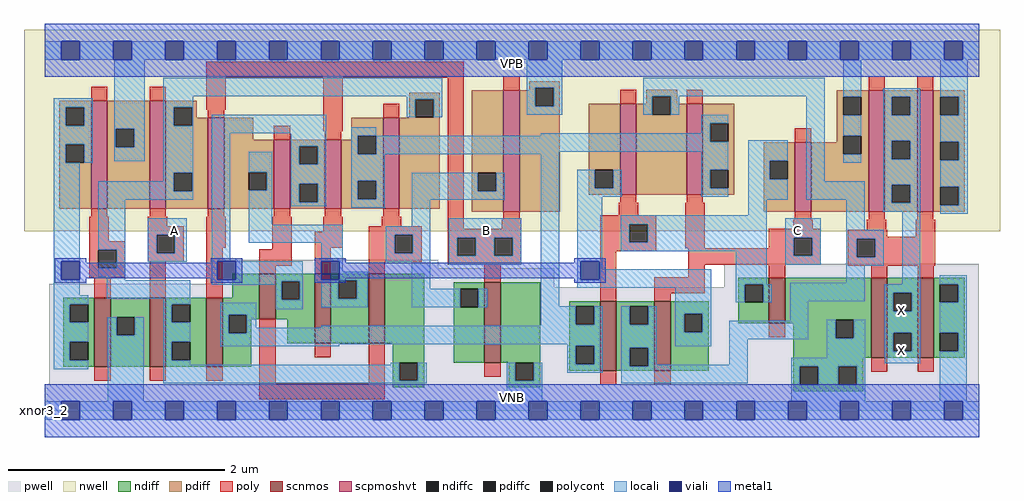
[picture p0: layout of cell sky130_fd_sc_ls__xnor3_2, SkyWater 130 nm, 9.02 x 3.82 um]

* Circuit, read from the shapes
.subckt sky130_fd_sc_ls__xnor3_2 A B C VGND VNB VPB VPWR X
XM1 VGND n1 n2 VNB sky130_fd_pr__nfet_01v8 w=0.64 l=0.15
XM2 n1 A VGND VNB sky130_fd_pr__nfet_01v8 w=0.64 l=0.15
XM3 n3 B n1 VNB sky130_fd_pr__nfet_01v8 w=0.64 l=0.15
XM4 n2 n4 n3 VNB sky130_fd_pr__nfet_01v8 w=0.42 l=0.15
XM5 n5 B n2 VNB sky130_fd_pr__nfet_01v8 w=0.64 l=0.15
XM6 n1 n4 n5 VNB sky130_fd_pr__nfet_01v8 w=0.64 l=0.15
XM7 VGND B n4 VNB sky130_fd_pr__nfet_01v8 w=0.74 l=0.15
XM8 n6 n7 n3 VNB sky130_fd_pr__nfet_01v8 w=0.64 l=0.15
XM9 n5 C n6 VNB sky130_fd_pr__nfet_01v8 w=0.64 l=0.15
XM10 VGND C n7 VNB sky130_fd_pr__nfet_01v8 w=0.42 l=0.15
XM11 X n6 VGND VNB sky130_fd_pr__nfet_01v8 w=0.74 l=0.15 m=2
XM12 VPWR n1 n2 VPB sky130_fd_pr__pfet_01v8_hvt w=1 l=0.15
XM13 n1 A VPWR VPB sky130_fd_pr__pfet_01v8_hvt w=1 l=0.15
XM14 n5 B n1 VPB sky130_fd_pr__pfet_01v8_hvt w=0.84 l=0.15
XM15 n2 n4 n5 VPB sky130_fd_pr__pfet_01v8_hvt w=0.64 l=0.15
XM16 n3 B n2 VPB sky130_fd_pr__pfet_01v8_hvt w=0.64 l=0.15
XM17 n1 n4 n3 VPB sky130_fd_pr__pfet_01v8_hvt w=0.84 l=0.15
XM18 VPWR B n4 VPB sky130_fd_pr__pfet_01v8_hvt w=1.12 l=0.15
XM19 n6 n7 n5 VPB sky130_fd_pr__pfet_01v8_hvt w=0.84 l=0.15
XM20 n3 C n6 VPB sky130_fd_pr__pfet_01v8_hvt w=0.84 l=0.15
XM21 VPWR C n7 VPB sky130_fd_pr__pfet_01v8_hvt w=0.64 l=0.15
XM22 X n6 VPWR VPB sky130_fd_pr__pfet_01v8_hvt w=1.12 l=0.15 m=2
.ends

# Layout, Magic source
magic
tech sky130A
magscale 1 2
<< nwell >>
rect -38 332 1766 704
<< pwell >>
rect 321 263 728 279
rect 321 235 942 263
rect 9 228 942 235
rect 1256 228 1727 272
rect 9 49 1727 228
rect 0 0 1728 49
<< scnmos >>
rect 92 81 122 209
rect 194 81 224 209
rect 299 81 329 209
rect 397 169 427 253
rect 499 125 529 253
rect 599 125 629 253
rect 813 89 843 237
rect 1027 74 1057 202
rect 1127 74 1157 202
rect 1339 162 1369 246
rect 1528 98 1558 246
rect 1614 98 1644 246
<< scpmoshvt >>
rect 86 373 116 573
rect 194 373 224 573
rect 302 373 332 541
rect 424 373 454 501
rect 518 373 548 501
rect 626 373 656 541
rect 848 368 878 592
rect 1064 399 1094 567
rect 1187 399 1217 567
rect 1387 368 1417 496
rect 1523 368 1553 592
rect 1613 368 1643 592
<< ndiff >>
rect 347 209 397 253
rect 35 197 92 209
rect 35 163 47 197
rect 81 163 92 197
rect 35 127 92 163
rect 35 93 47 127
rect 81 93 92 127
rect 35 81 92 93
rect 122 173 194 209
rect 122 139 133 173
rect 167 139 194 173
rect 122 81 194 139
rect 224 197 299 209
rect 224 163 235 197
rect 269 163 299 197
rect 224 127 299 163
rect 224 93 235 127
rect 269 93 299 127
rect 224 81 299 93
rect 329 177 397 209
rect 329 143 340 177
rect 374 169 397 177
rect 427 239 499 253
rect 427 205 438 239
rect 472 205 499 239
rect 427 169 499 205
rect 374 143 382 169
rect 329 81 382 143
rect 449 125 499 169
rect 529 241 599 253
rect 529 207 543 241
rect 577 207 599 241
rect 529 125 599 207
rect 629 125 702 253
rect 644 89 702 125
rect 756 225 813 237
rect 756 191 768 225
rect 802 191 813 225
rect 756 89 813 191
rect 843 89 916 237
rect 1282 234 1339 246
rect 644 55 656 89
rect 690 55 702 89
rect 644 43 702 55
rect 858 55 870 89
rect 904 55 916 89
rect 970 193 1027 202
rect 970 159 982 193
rect 1016 159 1027 193
rect 970 120 1027 159
rect 970 86 982 120
rect 1016 86 1027 120
rect 970 74 1027 86
rect 1057 193 1127 202
rect 1057 159 1082 193
rect 1116 159 1127 193
rect 1057 116 1127 159
rect 1057 82 1082 116
rect 1116 82 1127 116
rect 1057 74 1127 82
rect 1157 179 1228 202
rect 1157 145 1182 179
rect 1216 145 1228 179
rect 1282 200 1294 234
rect 1328 200 1339 234
rect 1282 162 1339 200
rect 1369 168 1528 246
rect 1369 162 1462 168
rect 1157 74 1228 145
rect 1384 134 1462 162
rect 1496 134 1528 168
rect 1384 98 1528 134
rect 1558 218 1614 246
rect 1558 184 1569 218
rect 1603 184 1614 218
rect 1558 144 1614 184
rect 1558 110 1569 144
rect 1603 110 1614 144
rect 1558 98 1614 110
rect 1644 234 1701 246
rect 1644 200 1655 234
rect 1689 200 1701 234
rect 1644 144 1701 200
rect 1644 110 1655 144
rect 1689 110 1701 144
rect 1644 98 1701 110
rect 1384 82 1513 98
rect 858 43 916 55
rect 1384 48 1396 82
rect 1430 48 1467 82
rect 1501 48 1513 82
rect 1384 36 1513 48
<< pdiff >>
rect 27 561 86 573
rect 27 527 39 561
rect 73 527 86 561
rect 27 492 86 527
rect 27 458 39 492
rect 73 458 86 492
rect 27 373 86 458
rect 116 521 194 573
rect 116 487 132 521
rect 166 487 194 521
rect 116 373 194 487
rect 224 561 281 573
rect 224 527 239 561
rect 273 541 281 561
rect 273 527 302 541
rect 224 440 302 527
rect 224 406 239 440
rect 273 406 302 440
rect 224 373 302 406
rect 332 501 386 541
rect 674 576 730 588
rect 674 542 685 576
rect 719 542 730 576
rect 674 541 730 542
rect 567 508 626 541
rect 567 501 579 508
rect 332 441 424 501
rect 332 407 377 441
rect 411 407 424 441
rect 332 373 424 407
rect 454 489 518 501
rect 454 455 471 489
rect 505 455 518 489
rect 454 419 518 455
rect 454 385 471 419
rect 505 385 518 419
rect 454 373 518 385
rect 548 474 579 501
rect 613 474 626 508
rect 548 425 626 474
rect 548 391 579 425
rect 613 391 626 425
rect 548 373 626 391
rect 656 373 730 541
rect 896 597 952 609
rect 896 592 907 597
rect 790 440 848 592
rect 790 406 801 440
rect 835 406 848 440
rect 790 368 848 406
rect 878 563 907 592
rect 941 563 952 597
rect 1112 581 1169 593
rect 1112 567 1123 581
rect 878 368 952 563
rect 1006 445 1064 567
rect 1006 411 1017 445
rect 1051 411 1064 445
rect 1006 399 1064 411
rect 1094 547 1123 567
rect 1157 567 1169 581
rect 1464 580 1523 592
rect 1157 547 1187 567
rect 1094 399 1187 547
rect 1217 531 1275 567
rect 1217 497 1230 531
rect 1264 497 1275 531
rect 1464 546 1476 580
rect 1510 546 1523 580
rect 1217 445 1275 497
rect 1464 508 1523 546
rect 1464 496 1476 508
rect 1217 411 1230 445
rect 1264 411 1275 445
rect 1217 399 1275 411
rect 1329 462 1387 496
rect 1329 428 1340 462
rect 1374 428 1387 462
rect 1329 368 1387 428
rect 1417 474 1476 496
rect 1510 474 1523 508
rect 1417 368 1523 474
rect 1553 580 1613 592
rect 1553 546 1566 580
rect 1600 546 1613 580
rect 1553 499 1613 546
rect 1553 465 1566 499
rect 1600 465 1613 499
rect 1553 418 1613 465
rect 1553 384 1566 418
rect 1600 384 1613 418
rect 1553 368 1613 384
rect 1643 580 1701 592
rect 1643 546 1656 580
rect 1690 546 1701 580
rect 1643 497 1701 546
rect 1643 463 1656 497
rect 1690 463 1701 497
rect 1643 414 1701 463
rect 1643 380 1656 414
rect 1690 380 1701 414
rect 1643 368 1701 380
<< ndiffc >>
rect 47 163 81 197
rect 47 93 81 127
rect 133 139 167 173
rect 235 163 269 197
rect 235 93 269 127
rect 340 143 374 177
rect 438 205 472 239
rect 543 207 577 241
rect 768 191 802 225
rect 656 55 690 89
rect 870 55 904 89
rect 982 159 1016 193
rect 982 86 1016 120
rect 1082 159 1116 193
rect 1082 82 1116 116
rect 1182 145 1216 179
rect 1294 200 1328 234
rect 1462 134 1496 168
rect 1569 184 1603 218
rect 1569 110 1603 144
rect 1655 200 1689 234
rect 1655 110 1689 144
rect 1396 48 1430 82
rect 1467 48 1501 82
<< pdiffc >>
rect 39 527 73 561
rect 39 458 73 492
rect 132 487 166 521
rect 239 527 273 561
rect 239 406 273 440
rect 685 542 719 576
rect 377 407 411 441
rect 471 455 505 489
rect 471 385 505 419
rect 579 474 613 508
rect 579 391 613 425
rect 801 406 835 440
rect 907 563 941 597
rect 1017 411 1051 445
rect 1123 547 1157 581
rect 1230 497 1264 531
rect 1476 546 1510 580
rect 1230 411 1264 445
rect 1340 428 1374 462
rect 1476 474 1510 508
rect 1566 546 1600 580
rect 1566 465 1600 499
rect 1566 384 1600 418
rect 1656 546 1690 580
rect 1656 463 1690 497
rect 1656 380 1690 414
<< poly >>
rect 299 615 775 645
rect 86 573 116 599
rect 194 573 224 599
rect 299 556 335 615
rect 302 541 332 556
rect 424 501 454 527
rect 515 516 551 615
rect 626 541 656 567
rect 518 501 548 516
rect 86 358 116 373
rect 194 358 224 373
rect 302 358 332 373
rect 424 358 454 373
rect 518 358 548 373
rect 626 358 656 373
rect 83 313 119 358
rect 191 341 227 358
rect 191 325 257 341
rect 83 297 149 313
rect 83 263 99 297
rect 133 263 149 297
rect 191 291 207 325
rect 241 291 257 325
rect 191 275 257 291
rect 299 301 335 358
rect 83 247 149 263
rect 92 209 122 247
rect 194 209 224 275
rect 299 209 329 301
rect 421 298 457 358
rect 515 331 551 358
rect 623 341 659 358
rect 397 268 457 298
rect 499 301 551 331
rect 599 325 697 341
rect 397 253 427 268
rect 499 253 529 301
rect 599 291 647 325
rect 681 291 697 325
rect 599 275 697 291
rect 745 336 775 615
rect 848 592 878 618
rect 1064 567 1094 593
rect 1187 567 1217 593
rect 1523 592 1553 618
rect 1613 592 1643 618
rect 1387 496 1417 522
rect 1064 384 1094 399
rect 1187 384 1217 399
rect 848 353 878 368
rect 1061 361 1097 384
rect 845 336 881 353
rect 745 320 881 336
rect 745 286 763 320
rect 797 286 831 320
rect 865 286 881 320
rect 599 253 629 275
rect 745 270 881 286
rect 1027 345 1131 361
rect 1027 311 1081 345
rect 1115 311 1131 345
rect 1027 295 1131 311
rect 1184 300 1220 384
rect 1387 353 1417 368
rect 1523 353 1553 368
rect 1613 353 1643 368
rect 1384 336 1420 353
rect 1339 320 1435 336
rect 1520 334 1556 353
rect 1339 300 1385 320
rect 92 55 122 81
rect 194 55 224 81
rect 299 55 329 81
rect 397 51 427 169
rect 813 237 843 270
rect 499 99 529 125
rect 599 51 629 125
rect 397 21 629 51
rect 1027 202 1057 295
rect 1190 286 1385 300
rect 1419 286 1435 320
rect 1190 270 1435 286
rect 1485 321 1558 334
rect 1610 321 1646 353
rect 1485 318 1646 321
rect 1485 284 1501 318
rect 1535 284 1646 318
rect 1190 247 1220 270
rect 1127 217 1220 247
rect 1339 246 1369 270
rect 1485 268 1646 284
rect 1528 246 1558 268
rect 1614 246 1644 268
rect 1127 202 1157 217
rect 813 63 843 89
rect 1339 136 1369 162
rect 1027 48 1057 74
rect 1127 48 1157 74
rect 1528 72 1558 98
rect 1614 72 1644 98
<< polycont >>
rect 99 263 133 297
rect 207 291 241 325
rect 647 291 681 325
rect 763 286 797 320
rect 831 286 865 320
rect 1081 311 1115 345
rect 1385 286 1419 320
rect 1501 284 1535 318
<< locali >>
rect 0 649 31 683
rect 65 649 127 683
rect 161 649 223 683
rect 257 649 319 683
rect 353 649 415 683
rect 449 649 511 683
rect 545 649 607 683
rect 641 649 703 683
rect 737 649 799 683
rect 833 649 895 683
rect 929 649 991 683
rect 1025 649 1087 683
rect 1121 649 1183 683
rect 1217 649 1279 683
rect 1313 649 1375 683
rect 1409 649 1471 683
rect 1505 649 1567 683
rect 1601 649 1663 683
rect 1697 649 1728 683
rect 17 561 89 577
rect 17 527 39 561
rect 73 527 89 561
rect 17 492 89 527
rect 17 458 39 492
rect 73 458 89 492
rect 129 521 185 649
rect 129 487 132 521
rect 166 487 185 521
rect 129 461 185 487
rect 219 581 735 615
rect 219 561 275 581
rect 219 527 239 561
rect 273 527 275 561
rect 669 576 735 581
rect 17 276 65 458
rect 219 440 275 527
rect 219 424 239 440
rect 17 242 31 276
rect 99 406 239 424
rect 273 406 275 440
rect 99 390 275 406
rect 309 513 521 547
rect 669 542 685 576
rect 719 542 735 576
rect 891 597 957 649
rect 891 563 907 597
rect 941 563 957 597
rect 891 547 957 563
rect 1107 581 1442 615
rect 1107 547 1123 581
rect 1157 547 1173 581
rect 1214 531 1264 547
rect 99 297 149 390
rect 133 263 149 297
rect 191 325 263 356
rect 191 291 207 325
rect 241 291 263 325
rect 191 275 263 291
rect 309 276 343 513
rect 455 489 521 513
rect 377 441 421 479
rect 411 407 421 441
rect 377 344 421 407
rect 455 455 471 489
rect 505 455 521 489
rect 455 419 521 455
rect 455 385 471 419
rect 505 385 521 419
rect 455 378 521 385
rect 567 508 613 524
rect 1214 513 1230 531
rect 917 508 1230 513
rect 567 474 579 508
rect 613 497 1230 508
rect 613 479 1264 497
rect 613 474 951 479
rect 567 425 629 474
rect 567 391 579 425
rect 613 391 629 425
rect 567 375 629 391
rect 679 406 801 440
rect 835 406 851 440
rect 679 390 851 406
rect 377 310 551 344
rect 679 341 713 390
rect 511 276 551 310
rect 99 247 149 263
rect 17 213 65 242
rect 115 241 149 247
rect 309 242 319 276
rect 353 242 477 276
rect 17 197 81 213
rect 115 207 269 241
rect 309 239 477 242
rect 309 233 438 239
rect 17 163 47 197
rect 219 197 269 207
rect 427 205 438 233
rect 472 205 477 239
rect 17 127 81 163
rect 17 93 47 127
rect 17 77 81 93
rect 117 139 133 173
rect 167 139 183 173
rect 117 17 183 139
rect 219 163 235 197
rect 219 127 269 163
rect 219 93 235 127
rect 325 177 391 199
rect 427 187 477 205
rect 545 257 551 276
rect 631 325 713 341
rect 631 291 647 325
rect 681 291 713 325
rect 631 275 713 291
rect 545 242 597 257
rect 511 241 597 242
rect 511 207 543 241
rect 577 207 597 241
rect 511 191 597 207
rect 679 225 713 275
rect 747 320 881 356
rect 747 286 763 320
rect 797 286 831 320
rect 865 286 881 320
rect 747 270 881 286
rect 679 191 768 225
rect 802 191 818 225
rect 917 193 951 474
rect 1214 445 1264 479
rect 985 411 1017 445
rect 1051 411 1067 445
rect 985 395 1067 411
rect 1214 411 1230 445
rect 1214 395 1264 411
rect 1301 462 1374 500
rect 1301 428 1340 462
rect 985 276 1031 395
rect 1301 390 1374 428
rect 1408 424 1442 581
rect 1476 580 1510 649
rect 1476 508 1510 546
rect 1476 458 1510 474
rect 1550 580 1619 596
rect 1550 546 1566 580
rect 1600 546 1619 580
rect 1550 499 1619 546
rect 1550 465 1566 499
rect 1600 465 1619 499
rect 1408 390 1516 424
rect 1301 361 1335 390
rect 1065 345 1335 361
rect 1065 311 1081 345
rect 1115 311 1335 345
rect 1065 295 1335 311
rect 985 242 991 276
rect 1025 261 1031 276
rect 1025 242 1232 261
rect 985 227 1232 242
rect 325 143 340 177
rect 374 153 391 177
rect 917 159 982 193
rect 1016 159 1032 193
rect 917 157 1032 159
rect 511 153 1032 157
rect 374 143 1032 153
rect 325 123 1032 143
rect 325 119 545 123
rect 966 120 1032 123
rect 219 85 269 93
rect 640 85 656 89
rect 219 55 656 85
rect 690 55 706 89
rect 219 51 706 55
rect 854 55 870 89
rect 904 55 920 89
rect 966 86 982 120
rect 1016 86 1032 120
rect 966 70 1032 86
rect 1066 159 1082 193
rect 1116 159 1132 193
rect 1066 116 1132 159
rect 1166 179 1232 227
rect 1278 234 1335 295
rect 1369 320 1435 356
rect 1369 286 1385 320
rect 1419 286 1435 320
rect 1369 270 1435 286
rect 1482 334 1516 390
rect 1550 418 1619 465
rect 1550 384 1566 418
rect 1600 384 1619 418
rect 1550 368 1619 384
rect 1482 318 1551 334
rect 1482 284 1501 318
rect 1535 284 1551 318
rect 1482 268 1551 284
rect 1482 236 1516 268
rect 1278 200 1294 234
rect 1328 200 1344 234
rect 1378 202 1516 236
rect 1585 234 1619 368
rect 1656 580 1706 649
rect 1690 546 1706 580
rect 1656 497 1706 546
rect 1690 463 1706 497
rect 1656 414 1706 463
rect 1690 380 1706 414
rect 1656 364 1706 380
rect 1553 218 1619 234
rect 1166 145 1182 179
rect 1216 145 1232 179
rect 1378 166 1412 202
rect 1553 184 1569 218
rect 1603 184 1619 218
rect 1166 119 1232 145
rect 1266 132 1412 166
rect 1446 134 1462 168
rect 1496 134 1517 168
rect 1066 82 1082 116
rect 1116 85 1132 116
rect 1266 85 1300 132
rect 1446 98 1517 134
rect 1116 82 1300 85
rect 854 17 920 55
rect 1066 51 1300 82
rect 1380 82 1517 98
rect 1553 144 1619 184
rect 1553 110 1569 144
rect 1603 110 1619 144
rect 1553 88 1619 110
rect 1655 234 1705 250
rect 1689 200 1705 234
rect 1655 144 1705 200
rect 1689 110 1705 144
rect 1380 48 1396 82
rect 1430 48 1467 82
rect 1501 48 1517 82
rect 1380 17 1517 48
rect 1655 17 1705 110
rect 0 -17 31 17
rect 65 -17 127 17
rect 161 -17 223 17
rect 257 -17 319 17
rect 353 -17 415 17
rect 449 -17 511 17
rect 545 -17 607 17
rect 641 -17 703 17
rect 737 -17 799 17
rect 833 -17 895 17
rect 929 -17 991 17
rect 1025 -17 1087 17
rect 1121 -17 1183 17
rect 1217 -17 1279 17
rect 1313 -17 1375 17
rect 1409 -17 1471 17
rect 1505 -17 1567 17
rect 1601 -17 1663 17
rect 1697 -17 1728 17
<< viali >>
rect 31 649 65 683
rect 127 649 161 683
rect 223 649 257 683
rect 319 649 353 683
rect 415 649 449 683
rect 511 649 545 683
rect 607 649 641 683
rect 703 649 737 683
rect 799 649 833 683
rect 895 649 929 683
rect 991 649 1025 683
rect 1087 649 1121 683
rect 1183 649 1217 683
rect 1279 649 1313 683
rect 1375 649 1409 683
rect 1471 649 1505 683
rect 1567 649 1601 683
rect 1663 649 1697 683
rect 31 242 65 276
rect 319 242 353 276
rect 511 242 545 276
rect 991 242 1025 276
rect 31 -17 65 17
rect 127 -17 161 17
rect 223 -17 257 17
rect 319 -17 353 17
rect 415 -17 449 17
rect 511 -17 545 17
rect 607 -17 641 17
rect 703 -17 737 17
rect 799 -17 833 17
rect 895 -17 929 17
rect 991 -17 1025 17
rect 1087 -17 1121 17
rect 1183 -17 1217 17
rect 1279 -17 1313 17
rect 1375 -17 1409 17
rect 1471 -17 1505 17
rect 1567 -17 1601 17
rect 1663 -17 1697 17
<< metal1 >>
rect 0 683 1728 715
rect 0 649 31 683
rect 65 649 127 683
rect 161 649 223 683
rect 257 649 319 683
rect 353 649 415 683
rect 449 649 511 683
rect 545 649 607 683
rect 641 649 703 683
rect 737 649 799 683
rect 833 649 895 683
rect 929 649 991 683
rect 1025 649 1087 683
rect 1121 649 1183 683
rect 1217 649 1279 683
rect 1313 649 1375 683
rect 1409 649 1471 683
rect 1505 649 1567 683
rect 1601 649 1663 683
rect 1697 649 1728 683
rect 0 617 1728 649
rect 19 276 77 282
rect 19 242 31 276
rect 65 273 77 276
rect 307 276 365 282
rect 307 273 319 276
rect 65 245 319 273
rect 65 242 77 245
rect 19 236 77 242
rect 307 242 319 245
rect 353 242 365 276
rect 307 236 365 242
rect 499 276 557 282
rect 499 242 511 276
rect 545 273 557 276
rect 979 276 1037 282
rect 979 273 991 276
rect 545 245 991 273
rect 545 242 557 245
rect 499 236 557 242
rect 979 242 991 245
rect 1025 242 1037 276
rect 979 236 1037 242
rect 0 17 1728 49
rect 0 -17 31 17
rect 65 -17 127 17
rect 161 -17 223 17
rect 257 -17 319 17
rect 353 -17 415 17
rect 449 -17 511 17
rect 545 -17 607 17
rect 641 -17 703 17
rect 737 -17 799 17
rect 833 -17 895 17
rect 929 -17 991 17
rect 1025 -17 1087 17
rect 1121 -17 1183 17
rect 1217 -17 1279 17
rect 1313 -17 1375 17
rect 1409 -17 1471 17
rect 1505 -17 1567 17
rect 1601 -17 1663 17
rect 1697 -17 1728 17
rect 0 -49 1728 -17
<< labels >>
rlabel comment s 0 0 0 0 4 xnor3_2
flabel pwell s 0 0 1728 49 0 FreeSans 200 0 0 0 VNB
port 5 nsew ground bidirectional
flabel nwell s 0 617 1728 666 0 FreeSans 200 0 0 0 VPB
port 6 nsew power bidirectional
flabel metal1 s 0 617 1728 666 0 FreeSans 340 0 0 0 VPWR
port 7 nsew power bidirectional abutment
flabel metal1 s 0 0 1728 49 0 FreeSans 340 0 0 0 VGND
port 4 nsew ground bidirectional abutment
flabel locali s 1567 94 1601 128 0 FreeSans 340 0 0 0 X
port 8 nsew signal output
flabel locali s 1567 168 1601 202 0 FreeSans 340 0 0 0 X
port 8 nsew signal output
flabel locali s 799 316 833 350 0 FreeSans 340 0 0 0 B
port 2 nsew signal input
flabel locali s 1375 316 1409 350 0 FreeSans 340 0 0 0 C
port 3 nsew signal input
flabel locali s 223 316 257 350 0 FreeSans 340 0 0 0 A
port 1 nsew signal input
<< properties >>
string LEFsite unit
string LEFclass CORE
string FIXED_BBOX 0 0 1728 666
string GDS_FILE $PDKPATH/libs.ref/sky130_fd_sc_ls/gds/sky130_fd_sc_ls.gds
string LEFsymmetry X Y
string GDS_END 880592
string GDS_START 867436
<< end >>
